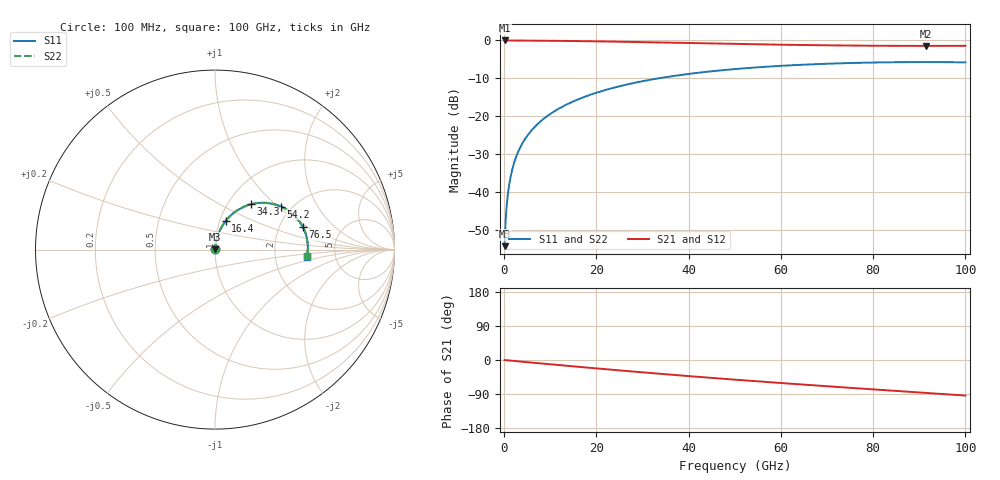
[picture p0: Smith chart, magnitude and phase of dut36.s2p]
! Touchstone file exported from HFSS 2026.1.0
!  File:  C:/ffzhzh/LocalFiles/Ansys_Project_Files/temp_train_RDL_36_1783498071_41296.aedt
!  Generated:  04:09:03 PM Jul  8, 2026
!  Design:  RDL
!  Project:  temp_train_RDL_36_1783498071_41296
! Variables:
!  h_bsmrdl = 2um
!  h_ox = 20um
!  h_rdl = 5um
!  h_sub = 80um
!  h_tmrdl = 4.22um
!  h_tsv = 80um
!  h_via = 3um
!  l_bsmrdl = 300um
!  l_sub = 708.23um
!  l_tmrdl = 308.23um
!  m_sub = 200um
!  pitch = 41.66um
!  r_tsv = 6um
!  s_tmrdl = 10um
!  w_bsmrdl = 18um
!  w_sub = 500um
!  w_tmrdl = 19.73um
!  x_tsv_center1 = 318.095um
!  x_tsv_center2 = 636.095um
!  x_tsv_center3 = 964.055um
!  x_tsv_center4 = 1282.055um
!  x_tsv_center5 = 1610.015um
!  x_tsv_center6 = 1928.015um
# GHz S MA R 50.000000
! Terminal data exported
! Port[1] = TM_RDL1_1_T1
! Port[2] = TM_RDL1_1_T2
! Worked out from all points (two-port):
!   1000 points, 100 MHz to 100 GHz, reference 50 ohm
!   highest |S21| = -0.01 dB at 100 MHz (marker M1); lowest = -1.5 dB at 91.5 GHz (marker M2)
!   |S21| within 3 dB of the highest: start of sweep to end of sweep
!   lowest |S11| = -54.3 dB at 100 MHz (marker M3), VSWR 1.00, Z = 50.1 + j0.123 ohm
!   |S11| at or under -10 dB: start of sweep to 33.53 GHz
!   |S22| runs from -54.3 to -5.7 dB; largest |S21 - S12| = 7.8e-15
!   S11 on the Smith chart (normalised r, x): 100 MHz: 1.00, +0.00; 16.4 GHz: 1.07, +0.35; 34.3 GHz: 1.27, +0.72; 54.2 GHz: 1.76, +1.05; 76.5 GHz: 2.69, +0.91; 100 GHz: 3.07, -0.33
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0.1  0.001923 39.7  0.9985 -0.1  0.9985 -0.1  0.001923 39.7
! Gamma 0 0 0 0
! Port Impedance 50 0 50 0
0.4  0.004954 69.6  0.9983 -0.5  0.9983 -0.5  0.004954 69.6
0.8  0.009258 77.8  0.9981 -0.9  0.9981 -0.9  0.009258 77.8
1.1  0.01254 80.1  0.998 -1.3  0.998 -1.3  0.01254 80.1
1.4  0.01584 81.3  0.9979 -1.6  0.9979 -1.6  0.01584 81.3
2.4  0.02685 82.5  0.9974 -2.8  0.9974 -2.8  0.02685 82.5
3.9  0.04318 81.8  0.9963 -4.5  0.9963 -4.5  0.04318 81.8
6  0.06558 80.0  0.9943 -6.9  0.9943 -6.9  0.06558 80.0
8.7  0.09365 77.4  0.9911 -9.9  0.9911 -9.9  0.09365 77.4
12.2  0.1291 73.8  0.9862 -13.7  0.9862 -13.7  0.1291 73.9
16.4  0.1701 69.6  0.9791 -18.3  0.9791 -18.3  0.1701 69.6
16.8  0.1739 69.1  0.9784 -18.7  0.9784 -18.7  0.1739 69.2
24.2  0.2413 61.6  0.963 -26.6  0.963 -26.6  0.2413 61.7
33.4  0.3152 52.5  0.9407 -36.0  0.9407 -36.0  0.3153 52.5
34.3  0.3218 51.6  0.9384 -36.9  0.9384 -36.9  0.3219 51.7
50.1  0.4188 36.9  0.899 -51.9  0.899 -51.9  0.4188 36.9
54.2  0.4382 33.2  0.8897 -55.6  0.8897 -55.6  0.4382 33.3
66.7  0.4836 22.5  0.866 -66.5  0.866 -66.5  0.4836 22.6
76.5  0.5055 14.5  0.8535 -74.7  0.8535 -74.7  0.5055 14.6
83.4  0.5142 8.9  0.8483 -80.3  0.8483 -80.3  0.5143 9.0
91.5  0.5176 2.4  0.8461 -86.9  0.8461 -86.9  0.5176 2.6
100  0.5132 -4.4  0.8485 -93.8  0.8485 -93.8  0.5133 -4.2
